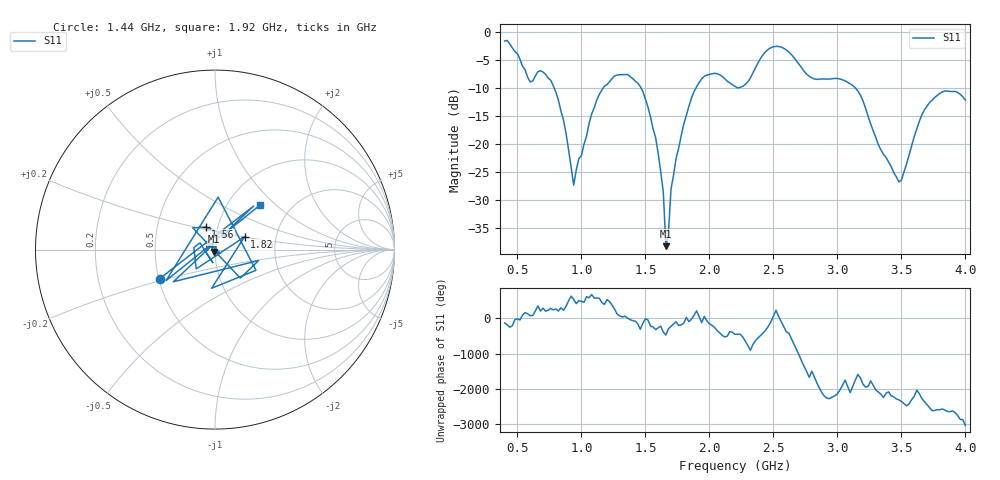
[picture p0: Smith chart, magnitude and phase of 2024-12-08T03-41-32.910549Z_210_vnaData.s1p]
!Created with skrf (http://scikit-rf.org).
# Hz S RI R 50.0
!freq ReS11 ImS11
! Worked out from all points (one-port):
!   181 points, 400 MHz to 4 GHz, reference 50 ohm
!   lowest |S11| = -38.3 dB at 1.66 GHz (marker M1), VSWR 1.02, Z = 49.5 - j1.1 ohm
!   |S11| at or under -10 dB: 786.6 MHz to 1.172 GHz (385.1 MHz wide, 39.3 % of centre); 1.465 GHz to 1.896 GHz (430.9 MHz wide, 25.6 % of centre); 3.14 GHz to end of sweep (the widest 3 of 4)
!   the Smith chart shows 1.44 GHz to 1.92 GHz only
!   S11 on the Smith chart (normalised r, x): 1.44 GHz: 0.51, -0.19; 1.56 GHz: 0.87, +0.22; 1.82 GHz: 1.38, +0.20; 1.92 GHz: 1.41, +0.80
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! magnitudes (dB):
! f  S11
! 400 MHz  -1.6
! 600 MHz  -9.0
! 680 MHz  -7.0
! 760 MHz  -8.6
! 860 MHz  -15.7
! 940 MHz  -27.4
! 1.12 GHz  -12.2
! 1.3 GHz  -7.7
! 1.44 GHz  -9.2
! 1.56 GHz  -17.3
! 1.64 GHz  -28.7
! 1.66 GHz  -38.3
! 1.68 GHz  -36.0
! 1.7 GHz  -28.1
! 1.76 GHz  -20.7
! 1.82 GHz  -14.9
! 1.92 GHz  -9.1
! 2.04 GHz  -7.4
! 2.2 GHz  -9.7
! 2.48 GHz  -2.8
! 2.66 GHz  -4.6
! 2.8 GHz  -8.2
! 3.1 GHz  -9.3
! 3.48 GHz  -26.8
! 3.56 GHz  -22.0
! 3.72 GHz  -12.6
! 3.84 GHz  -10.6
! 4 GHz  -12.2
